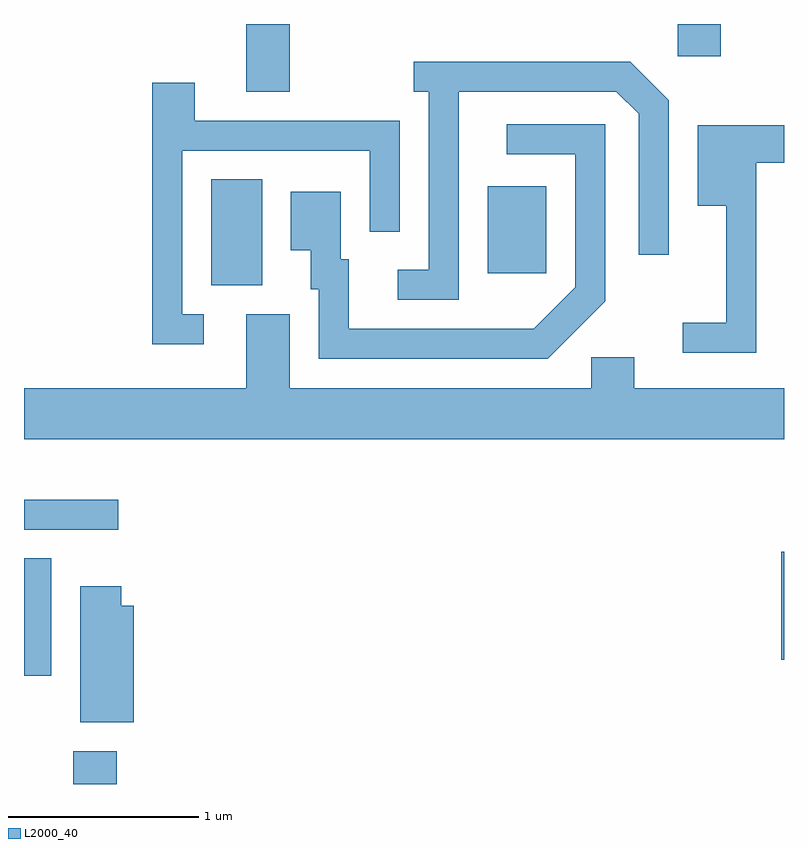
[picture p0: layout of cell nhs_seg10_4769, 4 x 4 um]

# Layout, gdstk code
import gdstk
lib = gdstk.Library(unit=1e-6, precision=1e-09)
def R(c, l, rs):  # rectangles x0, y0, x1, y1
    for r in rs: c.add(gdstk.rectangle(r[:2], r[2:], *l))
def P(c, l, *ps):  # polygons
    for p in ps: c.add(gdstk.Polygon(p, *l))
L2000_40 = (2000, 40)

nhs_seg10_4769 = lib.new_cell('nhs_seg10_4769')
R(nhs_seg10_4769, L2000_40, [(325.871,2136.522,326.099,2136.694), (325.611,2137.091,325.754,2137.709), (329.596,2137.176,329.611,2137.744), (325.611,2137.861,326.108,2138.019), (326.596,2139.146,326.864,2139.704), (328.051,2139.211,328.359,2139.669), (326.781,2140.166,327.009,2140.522), (329.051,2140.351,329.279,2140.522)])
P(nhs_seg10_4769, L2000_40, [(327.899,2140.166),(328.729,2140.166),(328.846,2140.049),(328.846,2139.308),(329.004,2139.308),(329.004,2140.122),(328.802,2140.324),(327.663,2140.324),(327.663,2140.166),(327.741,2140.166),(327.741,2139.229),(327.578,2139.229),(327.578,2139.071),(327.899,2139.071)],
  [(326.558,2138.994),(326.444,2138.994),(326.444,2139.856),(327.431,2139.856),(327.431,2139.428),(327.589,2139.428),(327.589,2140.014),(326.509,2140.014),(326.509,2140.214),(326.286,2140.214),(326.286,2138.836),(326.558,2138.836)],
  [(328.669,2139.064),(328.669,2139.994),(328.153,2139.994),(328.153,2139.836),(328.511,2139.836),(328.511,2139.137),(328.294,2138.919),(327.319,2138.919),(327.319,2139.284),(327.279,2139.284),(327.279,2139.639),(327.016,2139.639),(327.016,2139.331),(327.121,2139.331),(327.121,2139.126),(327.161,2139.126),(327.161,2138.761),(328.367,2138.761)],
  [(329.464,2139.791),(329.611,2139.791),(329.611,2139.989),(329.156,2139.989),(329.156,2139.566),(329.306,2139.566),(329.306,2138.949),(329.078,2138.949),(329.078,2138.791),(329.464,2138.791)],
  [(329.611,2138.604),(328.824,2138.604),(328.824,2138.769),(328.596,2138.769),(328.596,2138.604),(327.009,2138.604),(327.009,2138.994),(326.781,2138.994),(326.781,2138.604),(325.611,2138.604),(325.611,2138.336),(329.611,2138.336)],
  [(326.189,2137.459),(326.124,2137.459),(326.124,2137.564),(325.906,2137.564),(325.906,2136.846),(326.189,2136.846)])

lib.write_gds('nhs_seg10_4769.gds')
